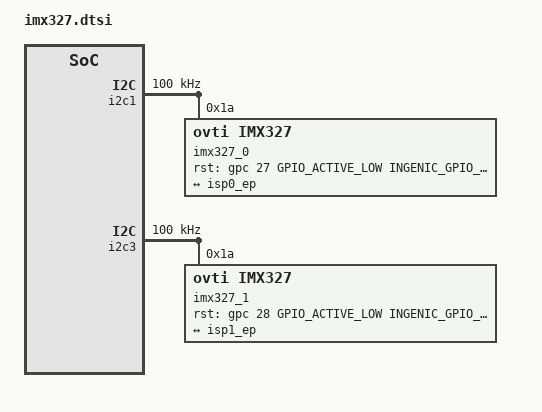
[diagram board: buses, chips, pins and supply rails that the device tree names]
&i2c1 {
	status = "okay";
	clock-frequency = <100000>;
	timeout = <1000>;
	pinctrl-names = "default";
	pinctrl-0 = <&i2c1_pa>;

	/*RD_X2000_HALLEY5_CAMERA_V3.2*/
	imx327_0:imx327@0x1a {
		status = "ok";
		compatible = "ovti,imx327";
		reg = <0x1a>;
		pinctrl-names = "default";
		pinctrl-0 = <&cim1_vic_mclk_pc>;

		ingenic,mclk = <1>;
		ingenic,rst-gpio = <&gpc 27 GPIO_ACTIVE_LOW INGENIC_GPIO_NOBIAS>;
		/*
		ingenic,ircutp-gpio = <&gpb 7 GPIO_ACTIVE_HIGH INGENIC_GPIO_NOBIAS>;
		ingenic,ircutn-gpio = <&gpb 1 GPIO_ACTIVE_LOW INGENIC_GPIO_NOBIAS>;

		*/
		port {
			imx327_ep0:endpoint {
				remote-endpoint = <&isp0_ep>;
			};
		};
	};
};


&i2c3 {
	status = "okay";
	clock-frequency = <100000>;
	timeout = <1000>;
	pinctrl-names = "default";
	pinctrl-0 = <&i2c3_pa>;

	/*RD_X2000_HALLEY5_CAMERA_V3.2*/
	imx327_1:imx327@0x1a {
		status = "ok";
		compatible = "ovti,imx327";
		reg = <0x1a>;
		pinctrl-names = "default";
		pinctrl-0 = <&cim2_vic_mclk_pc>;

		ingenic,mclk = <2>;
		ingenic,rst-gpio = <&gpc 28 GPIO_ACTIVE_LOW INGENIC_GPIO_NOBIAS>;
		/*
		ingenic,ircutp-gpio = <&gpb 7 GPIO_ACTIVE_HIGH INGENIC_GPIO_NOBIAS>;
		ingenic,ircutn-gpio = <&gpb 1 GPIO_ACTIVE_LOW INGENIC_GPIO_NOBIAS>;
		*/

		port {
			imx327_ep1:endpoint {
				remote-endpoint = <&isp1_ep>;
			};
		};
	};
};


&isp0_ep {
	remote-endpoint = <&imx327_ep0>;
	data-lanes = <0 1>;
	clk-lanes = <2>;
};

&isp1_ep {
	remote-endpoint = <&imx327_ep1>;
	data-lanes = <3 4>;
	clk-lanes = <5>;
};

